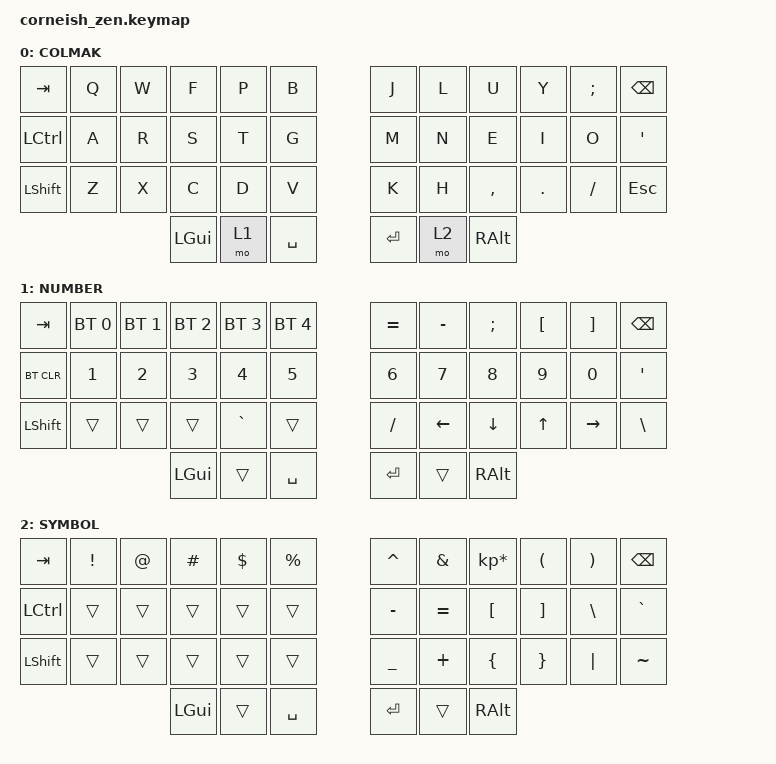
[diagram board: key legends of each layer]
#include <behaviors.dtsi>
#include <dt-bindings/zmk/keys.h>
#include <dt-bindings/zmk/bt.h>

/ {
  chosen {
    zmk,matrix_transform = &default_transform;
    //zmk,matrix_transform = &five_column_transform;
  };
};

/ {
        keymap {
                compatible = "zmk,keymap";

                default_layer {
                        label = "COLMAK";
// -----------------------------------------------------------------------------------------
// |  TAB |  Q  |  W  |  F  |  P  |  B  |   |  J  |  L   |  U  |  Y  |  ;  | BKSP |
// | CTRL |  A  |  R  |  S  |  T  |  G  |   |  M  |  N   |  E  |  I  |  O  |  '   |
// | SHFT |  Z  |  X  |  C  |  D  |  V  |   |  K  |  H   |  ,  |  .  |  /  | ESC  |
//                    | GUI | LWR | SPC |   | ENT | RSE  | ALT |
                        bindings = <
   &kp TAB   &kp Q &kp W &kp F &kp P &kp B   &kp J &kp L  &kp U     &kp Y   &kp SEMI &kp BSPC
   &kp LCTRL &kp A &kp R &kp S &kp T &kp G   &kp M &kp N  &kp E     &kp I   &kp O    &kp SQT
   &kp LSHFT &kp Z &kp X &kp C &kp D &kp V   &kp K &kp H  &kp COMMA &kp DOT &kp FSLH &kp ESC
                  &kp LGUI &mo 1 &kp SPACE   &kp RET &mo 2 &kp RALT
                        >;
                };
                lower_layer {
                        label = "NUMBER";
// -----------------------------------------------------------------------------------------
// |  TAB | BT1 | BT2 | BT3 | BT4 | BT5 |   |  =  |  -  |  ;  |  [  |  ]  | BKSP |
// | BTCLR|  1  |  2  |  3  |  4  |  5  |   |  6  |  7  |  8  |  9  |  0  |  '   |
// | SHFT |     |     |     |  `  |     |   |  /  |  L  |  D  |  U  |  R  |  \   |
//                    | GUI |     | SPC |   | ENT |     | ALT |
                        bindings = <
   &kp TAB    &bt BT_SEL 0 &bt BT_SEL 1 &bt BT_SEL 2 &bt BT_SEL 3 &bt BT_SEL 4   &kp EQUAL  &kp MINUS &kp SEMI &kp LBKT &kp RBKT  &kp BSPC
   &bt BT_CLR &kp N1       &kp N2       &kp N3       &kp N4       &kp N5         &kp N6     &kp N7    &kp N8   &kp N9   &kp N0    &kp SQT
   &kp LSHFT  &trans       &trans       &trans       &kp GRAVE    &trans         &kp FSLH   &kp LEFT  &kp DOWN &kp UP   &kp RIGHT &kp BSLH
                          	        &kp LGUI     &trans       &kp SPACE      &kp RET  &trans   &kp RALT
                        >;
                };

                raise_layer {
                        label = "SYMBOL";
// -----------------------------------------------------------------------------------------
// |  TAB |  !  |  @  |  #  |  $  |  %  |   |  ^  |  &  |  *  |  (  |  )  | BKSP |
// | CTRL |     |     |     |     |     |   |  -  |  =  |  [  |  ]  |  \  |  `   |
// | SHFT |     |     |     |     |     |   |  _  |  +  |  {  |  }  | "|" |  ~   |
//                    | GUI |     | SPC |   | ENT |     | ALT |
                        bindings = <
   &kp  TAB  &kp EXCL &kp AT &kp HASH &kp DLLR &kp PRCNT   &kp CARET &kp AMPS  &kp KP_MULTIPLY &kp LPAR &kp RPAR &kp BSPC
   &kp LCTRL &trans   &trans &trans   &trans   &trans      &kp MINUS &kp EQUAL &kp LBKT        &kp RBKT &kp BSLH &kp GRAVE
   &kp LSHFT &trans   &trans &trans   &trans   &trans      &kp UNDER &kp PLUS  &kp LBRC        &kp RBRC &kp PIPE &kp TILDE
                    	     &kp LGUI &trans   &kp SPACE   &kp RET   &trans    &kp RALT
                        >;
                };
        };
};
